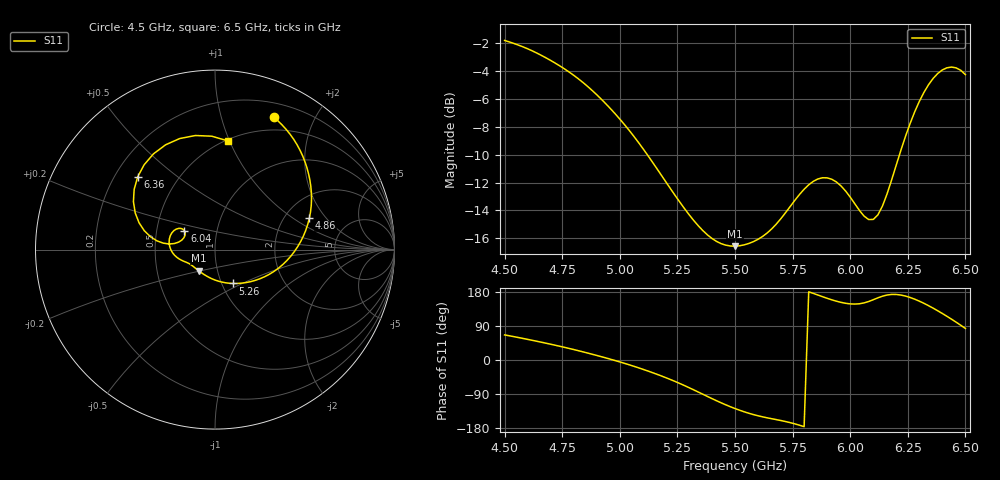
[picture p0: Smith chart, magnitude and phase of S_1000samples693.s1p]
! TOUCHSTONE file generated by CST MICROWAVE STUDIO
! Date and time: Sat Oct 29 01:24:05 2022
! Project name: L.cst
! Parameters = {Di=1.27; Epsilon_r=1.56; InnerDiameter=1.27; Length=2; Lf=10; Lg=60; OuterConductorThickness=0.2921; OuterDiameter=3.6; Wf=3; Wp=41.2; de=1.5; df=6.8; g=0.8; gx=2.10143; gy=2.27776; h=2.34; hf=1.524; px=12.8624; py=9.97515; w=9.7; wx=10.7609; wy=7.69738}
! Header version: 2018
! Port assignment regex: !\s*Touchstone port\s*([0-9]+)\s*=\s*(CST MWS port|CST DS port)\s*([0-9]+|Zmin|Zmax)\s*\(\"(.*)\"\)(\s*mode\s*([0-9]+))?.*
! Touchstone port assignment:
! Touchstone port 1 = CST MWS port 1 ("")
# GHz S DB R 50
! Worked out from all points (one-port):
!   101 points, 4.5 GHz to 6.5 GHz, reference 50 ohm
!   lowest |S11| = -16.5 dB at 5.5 GHz (marker M1), VSWR 1.35, Z = 40.6 - j9.71 ohm
!   |S11| at or under -10 dB: 5.119 GHz to 6.214 GHz (1.096 GHz wide, 19.3 % of centre)
!   S11 on the Smith chart (normalised r, x): 4.5 GHz: 0.35, +1.48; 4.86 GHz: 2.71, +1.37; 5.26 GHz: 1.13, -0.45; 6.04 GHz: 0.70, +0.15; 6.36 GHz: 0.29, +0.37; 6.5 GHz: 0.51, +0.98
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4.5  -1.85 66.2
4.64  -2.75 49.4
4.76  -3.88 33.4
4.86  -5.13 18.4
4.92  -6.05 8.7
5  -7.47 -5.1
5.12  -10.03 -28.6
5.26  -13.39 -61.9
5.38  -15.74 -96.1
5.5  -16.55 -128.1
5.64  -15.60 -152.6
5.76  -13.27 -168.6
5.82  -12.16 180.0
5.88  -11.66 167.1
5.94  -11.96 155.2
6  -13.04 148.1
6.04  -13.99 148.4
6.08  -14.65 154.3
6.12  -14.32 164.0
6.16  -12.81 171.5
6.2  -10.75 172.9
6.26  -7.78 165.0
6.32  -5.56 149.6
6.36  -4.56 136.8
6.4  -3.96 122.7
6.44  -3.75 107.6
6.48  -3.99 91.6
6.5  -4.29 83.3
